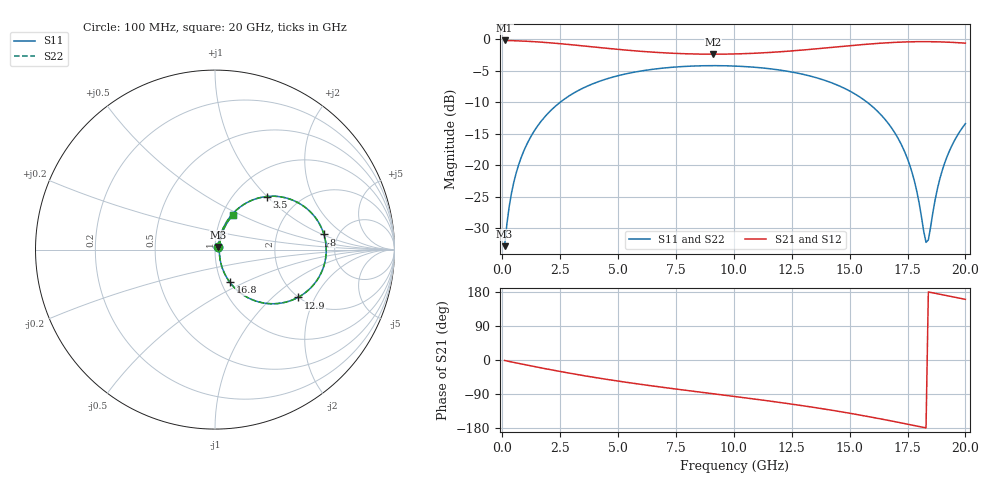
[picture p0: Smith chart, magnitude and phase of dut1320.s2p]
! Touchstone file exported from HFSS 2026.1.0
!  File:  C:/ffzhzh/LocalFiles/Ansys_Project_Files/temp_train_TSV_RDL_1320_1783336436_5512.aedt
!  Generated:  07:27:17 PM Jul  6, 2026
!  Design:  TSV_RDL
!  Project:  temp_train_TSV_RDL_1320_1783336436_5512
! Variables:
!  h_bsmrdl = 3.76um
!  h_ox = 20um
!  h_rdl = 5um
!  h_sub = 51.8um
!  h_tmrdl = 2.19um
!  h_tsv = 51.8um
!  h_via = 3um
!  l_bsmrdl = 687.69um
!  l_sub = 3558.37um
!  l_tmrdl = 240.09um
!  m_sub = 200um
!  pitch = 57.66um
!  r_tsv = 9.21um
!  s_tmrdl = 10um
!  w_bsmrdl = 19.22um
!  w_sub = 500um
!  w_tmrdl = 25.76um
!  x_tsv_center1 = 252.97um
!  x_tsv_center2 = 959.88um
!  x_tsv_center3 = 1225.73um
!  x_tsv_center4 = 1932.64um
!  x_tsv_center5 = 2198.49um
!  x_tsv_center6 = 2905.4um
# GHz S MA R 50.000000
! Terminal data exported
! Port[1] = TM_RDL1_1_T1
! Port[2] = TM_RDL5_1_T1
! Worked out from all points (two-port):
!   200 points, 100 MHz to 20 GHz, reference 50 ohm
!   highest |S21| = -0.15 dB at 100 MHz (marker M1); lowest = -2.3 dB at 9.1 GHz (marker M2)
!   |S21| within 3 dB of the highest: start of sweep to end of sweep
!   lowest |S11| = -32.8 dB at 100 MHz (marker M3), VSWR 1.05, Z = 51.8 + j1.49 ohm
!   |S11| at or under -10 dB: start of sweep to 2.488 GHz; 15.77 GHz to end of sweep
!   |S22| runs from -32.8 to -4.2 dB; largest |S21 - S12| = 3.6e-14
!   S11 on the Smith chart (normalised r, x): 100 MHz: 1.04, +0.03; 3.5 GHz: 1.39, +0.99; 8 GHz: 3.86, +1.05; 12.9 GHz: 1.99, -1.48; 16.8 GHz: 1.10, -0.42; 20 GHz: 1.12, +0.45
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0.1  0.02287 39.0  0.9825 -1.3  0.9825 -1.3  0.02287 39.0
! Gamma 0 0 0 0
! Port Impedance 50 0 50 0
0.3  0.04741 63.1  0.9805 -3.9  0.9805 -3.9  0.04741 63.1
0.5  0.07396 68.1  0.9778 -6.4  0.9778 -6.4  0.07397 68.1
1.1  0.1524 68.1  0.9671 -13.8  0.9671 -13.8  0.1524 68.1
2.1  0.2738 59.6  0.9399 -25.8  0.9399 -25.8  0.2738 59.6
3.5  0.4122 45.8  0.8889 -41.1  0.8889 -41.1  0.4122 45.8
6.8  0.589 17.1  0.787 -71.1  0.787 -71.1  0.589 17.1
8  0.6128 7.9  0.7696 -80.6  0.7696 -80.6  0.6129 7.9
9.1  0.6199 -0.3  0.7643 -89.1  0.7643 -89.1  0.6199 -0.3
10.1  0.6145 -7.7  0.7684 -96.8  0.7684 -96.8  0.6146 -7.8
12.9  0.5335 -29.9  0.8225 -120.0  0.8225 -120.0  0.5336 -29.9
13.4  0.5068 -34.3  0.8378 -124.5  0.8378 -124.5  0.5068 -34.3
15.3  0.3629 -51.9  0.9026 -143.7  0.9026 -143.7  0.3629 -51.9
16.7  0.212 -64.8  0.9435 -159.6  0.9435 -159.6  0.212 -64.8
16.8  0.2 -65.5  0.9457 -160.8  0.9457 -160.8  0.2 -65.6
17.7  0.08749 -67.2  0.9593 -171.8  0.9593 -171.8  0.0875 -67.2
17.9  0.06256 -62.9  0.9606 -174.3  0.9606 -174.3  0.06256 -63.0
18.3  0.02452 -11.2  0.9612 -179.2  0.9612 -179.2  0.02445 -11.3
18.4  0.02563 18.3  0.961 179.5  0.961 179.5  0.02556 18.3
18.8  0.06634 62.2  0.9582 174.6  0.9582 174.6  0.06629 62.3
19.1  0.1039 66.5  0.9544 170.9  0.9544 170.9  0.1039 66.5
20  0.2148 62.9  0.9353 160.1  0.9353 160.1  0.2147 62.9
